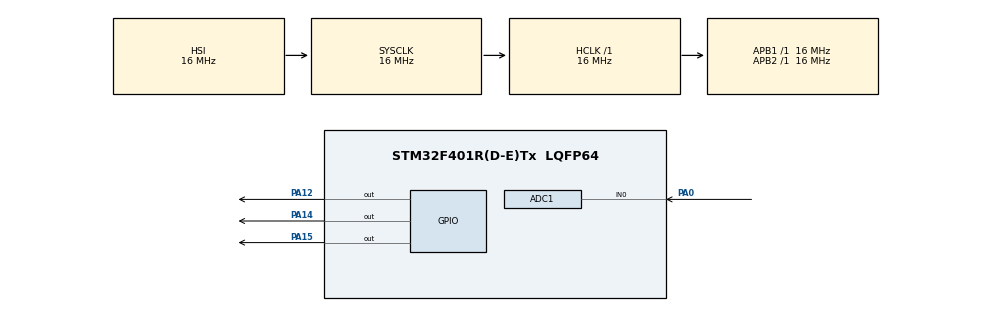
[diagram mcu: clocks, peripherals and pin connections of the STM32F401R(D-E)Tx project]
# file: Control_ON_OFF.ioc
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ADC1.Channel-0\#ChannelRegularConversion=ADC_CHANNEL_0
ADC1.NbrOfConversionFlag=1
ADC1.Rank-0\#ChannelRegularConversion=1
ADC1.SamplingTime-0\#ChannelRegularConversion=ADC_SAMPLETIME_3CYCLES
ADC1.master=1
Mcu.Family=STM32F4
Mcu.Name=STM32F401R(D-E)Tx
Mcu.Package=LQFP64
NVIC.PriorityGroup=NVIC_PRIORITYGROUP_4
PA0-WKUP.Signal=ADCx_IN0
PA12.Signal=GPIO_Output
PA14.Signal=GPIO_Output
PA15.Signal=GPIO_Output
ProjectManager.HeapSize=0x200
ProjectManager.StackSize=0x400
ProjectManager.TargetToolchain=STM32CubeIDE
RCC.AHBFreq_Value=16000000
RCC.APB1Freq_Value=16000000
RCC.APB2Freq_Value=16000000
RCC.CortexFreq_Value=16000000
RCC.HSE_VALUE=25000000
RCC.HSI_VALUE=16000000
RCC.LSE_VALUE=32768
RCC.SYSCLKFreq_VALUE=16000000
RCC.VCOOutputFreq_Value=192000000
SH.ADCx_IN0.0=ADC1_IN0,IN0
board=custom

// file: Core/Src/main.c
/* USER CODE BEGIN Header */
/**
  ******************************************************************************
  * @file           : main.c
  * @brief          : Main program body
  ******************************************************************************
  * @attention
  *
  * Copyright (c) 2022 STMicroelectronics.
  * All rights reserved.
  *
  * This software is licensed under terms that can be found in the LICENSE file
  * in the root directory of this software component.
  * If no LICENSE file comes with this software, it is provided AS-IS.
  *
  ******************************************************************************
  */
/* USER CODE END Header */
#include "main.h"

ADC_HandleTypeDef hadc1;

void SystemClock_Config(void);
static void MX_GPIO_Init(void);
static void MX_ADC1_Init(void);
/* USER CODE BEGIN PFP */

uint32_t ADCValue=0;
uint32_t VP=0;
uint32_t SP=50;
uint32_t Offset=5;

#define    BLUE    GPIO_PIN_15
#define    GREEN   GPIO_PIN_12
#define    RED     GPIO_PIN_14
/* USER CODE END PFP */

int main(void)
{

  /* MCU Configuration--------------------------------------------------------*/

  /* Reset of all peripherals, Initializes the Flash interface and the Systick. */
  HAL_Init();

  /* Configure the system clock */
  SystemClock_Config();

  /* Initialize all configured peripherals */
  MX_GPIO_Init();
  MX_ADC1_Init();

  /* Infinite loop */
  /* USER CODE BEGIN WHILE */
  while (1)
  {

	  HAL_ADC_Start(&hadc1);
	           if(HAL_ADC_PollForConversion(&hadc1, 5)==HAL_OK)
	           {
	               ADCValue=HAL_ADC_GetValue(&hadc1);
	           }
	           HAL_ADC_Stop(&hadc1);

	           VP= (ADCValue*100)/4095;
	           //VP= 56;

	           if(VP>0 && VP<SP-Offset)
	           {
	               HAL_GPIO_WritePin(GPIOA, RED+GREEN+BLUE , GPIO_PIN_RESET);
	               HAL_GPIO_WritePin(GPIOA, BLUE, GPIO_PIN_SET);

	           }else if(VP>SP-Offset && VP<SP+Offset)
	           {
	               HAL_GPIO_WritePin(GPIOA, RED+GREEN+BLUE , GPIO_PIN_RESET);
	               HAL_GPIO_WritePin(GPIOA, GREEN, GPIO_PIN_SET);

	           }else if(VP>SP+Offset && VP<100)
	           {
	               HAL_GPIO_WritePin(GPIOA, RED+GREEN+BLUE , GPIO_PIN_RESET);
	               HAL_GPIO_WritePin(GPIOA, RED, GPIO_PIN_SET);
	           }else{

	           }
    /* USER CODE END WHILE */

  }
}

void SystemClock_Config(void)
{
  RCC_OscInitTypeDef RCC_OscInitStruct = {0};
  RCC_ClkInitTypeDef RCC_ClkInitStruct = {0};

  /** Configure the main internal regulator output voltage
  */
  __HAL_RCC_PWR_CLK_ENABLE();
  __HAL_PWR_VOLTAGESCALING_CONFIG(PWR_REGULATOR_VOLTAGE_SCALE2);

  /** Initializes the RCC Oscillators according to the specified parameters
  * in the RCC_OscInitTypeDef structure.
  */
  RCC_OscInitStruct.OscillatorType = RCC_OSCILLATORTYPE_HSI;
  RCC_OscInitStruct.HSIState = RCC_HSI_ON;
  RCC_OscInitStruct.HSICalibrationValue = RCC_HSICALIBRATION_DEFAULT;
  RCC_OscInitStruct.PLL.PLLState = RCC_PLL_NONE;
  if (HAL_RCC_OscConfig(&RCC_OscInitStruct) != HAL_OK)
  {
    Error_Handler();
  }

  /** Initializes the CPU, AHB and APB buses clocks
  */
  RCC_ClkInitStruct.ClockType = RCC_CLOCKTYPE_HCLK|RCC_CLOCKTYPE_SYSCLK
                              |RCC_CLOCKTYPE_PCLK1|RCC_CLOCKTYPE_PCLK2;
  RCC_ClkInitStruct.SYSCLKSource = RCC_SYSCLKSOURCE_HSI;
  RCC_ClkInitStruct.AHBCLKDivider = RCC_SYSCLK_DIV1;
  RCC_ClkInitStruct.APB1CLKDivider = RCC_HCLK_DIV1;
  RCC_ClkInitStruct.APB2CLKDivider = RCC_HCLK_DIV1;

  if (HAL_RCC_ClockConfig(&RCC_ClkInitStruct, FLASH_LATENCY_0) != HAL_OK)
  {
    Error_Handler();
  }
}

static void MX_ADC1_Init(void)
{

  ADC_ChannelConfTypeDef sConfig = {0};

  /** Configure the global features of the ADC (Clock, Resolution, Data Alignment and number of conversion)
  */
  hadc1.Instance = ADC1;
  hadc1.Init.ClockPrescaler = ADC_CLOCK_SYNC_PCLK_DIV2;
  hadc1.Init.Resolution = ADC_RESOLUTION_12B;
  hadc1.Init.ScanConvMode = DISABLE;
  hadc1.Init.ContinuousConvMode = DISABLE;
  hadc1.Init.DiscontinuousConvMode = DISABLE;
  hadc1.Init.ExternalTrigConvEdge = ADC_EXTERNALTRIGCONVEDGE_NONE;
  hadc1.Init.ExternalTrigConv = ADC_SOFTWARE_START;
  hadc1.Init.DataAlign = ADC_DATAALIGN_RIGHT;
  hadc1.Init.NbrOfConversion = 1;
  hadc1.Init.DMAContinuousRequests = DISABLE;
  hadc1.Init.EOCSelection = ADC_EOC_SINGLE_CONV;
  if (HAL_ADC_Init(&hadc1) != HAL_OK)
  {
    Error_Handler();
  }

  /** Configure for the selected ADC regular channel its corresponding rank in the sequencer and its sample time.
  */
  sConfig.Channel = ADC_CHANNEL_0;
  sConfig.Rank = 1;
  sConfig.SamplingTime = ADC_SAMPLETIME_3CYCLES;
  if (HAL_ADC_ConfigChannel(&hadc1, &sConfig) != HAL_OK)
  {
    Error_Handler();
  }

}

static void MX_GPIO_Init(void)
{
  GPIO_InitTypeDef GPIO_InitStruct = {0};

  /* GPIO Ports Clock Enable */
  __HAL_RCC_GPIOA_CLK_ENABLE();

  /*Configure GPIO pin Output Level */
  HAL_GPIO_WritePin(GPIOA, GPIO_PIN_12|GPIO_PIN_14|GPIO_PIN_15, GPIO_PIN_RESET);

  /*Configure GPIO pins : PA12 PA14 PA15 */
  GPIO_InitStruct.Pin = GPIO_PIN_12|GPIO_PIN_14|GPIO_PIN_15;
  GPIO_InitStruct.Mode = GPIO_MODE_OUTPUT_PP;
  GPIO_InitStruct.Pull = GPIO_NOPULL;
  GPIO_InitStruct.Speed = GPIO_SPEED_FREQ_LOW;
  HAL_GPIO_Init(GPIOA, &GPIO_InitStruct);

}

void Error_Handler(void)
{
  __disable_irq();
  while (1)
  {
  }
}
